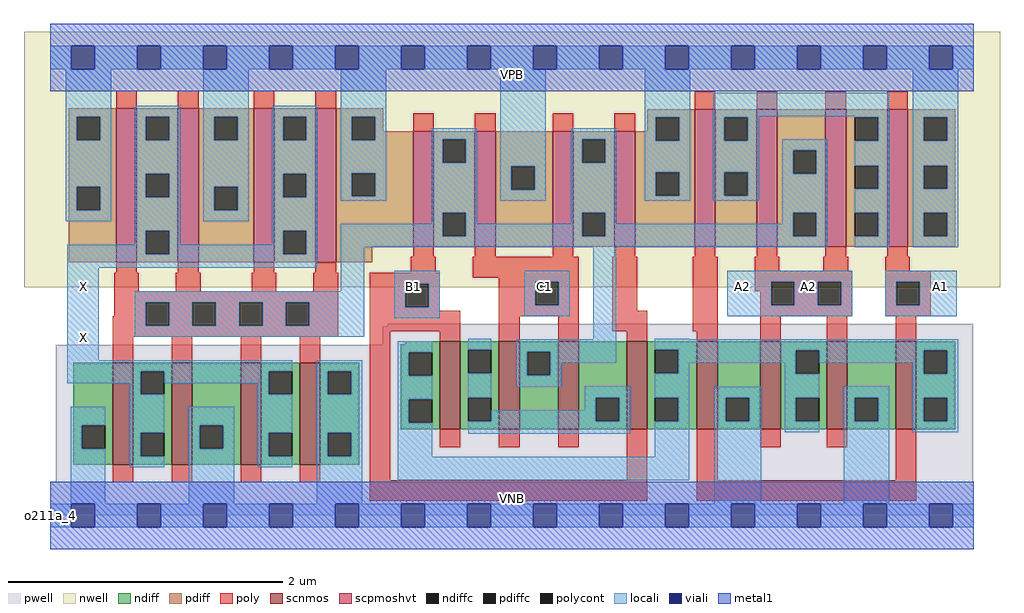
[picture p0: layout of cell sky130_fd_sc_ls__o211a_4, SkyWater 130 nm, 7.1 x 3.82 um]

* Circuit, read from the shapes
.subckt sky130_fd_sc_ls__o211a_4 A1 A2 B1 C1 VGND VNB VPB VPWR X
XM1 X n1 VGND VNB sky130_fd_pr__nfet_01v8 w=0.74 l=0.15 m=4
XM2 n2 B1 n3 VNB sky130_fd_pr__nfet_01v8 w=0.64 l=0.15 m=2
XM3 n1 C1 n2 VNB sky130_fd_pr__nfet_01v8 w=0.64 l=0.15 m=2
XM4 VGND A1 n3 VNB sky130_fd_pr__nfet_01v8 w=0.64 l=0.15 m=2
XM5 n3 A2 VGND VNB sky130_fd_pr__nfet_01v8 w=0.64 l=0.15 m=2
XM6 X n1 VPWR VPB sky130_fd_pr__pfet_01v8_hvt w=1.12 l=0.15 m=4
XM7 n1 B1 VPWR VPB sky130_fd_pr__pfet_01v8_hvt w=0.84 l=0.15 m=2
XM8 VPWR C1 n1 VPB sky130_fd_pr__pfet_01v8_hvt w=0.84 l=0.15 m=2
XM9 n4 A1 VPWR VPB sky130_fd_pr__pfet_01v8_hvt w=1 l=0.15 m=2
XM10 n1 A2 n4 VPB sky130_fd_pr__pfet_01v8_hvt w=1 l=0.15 m=2
.ends

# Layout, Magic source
magic
tech sky130A
magscale 1 2
<< nwell >>
rect -38 332 1382 704
<< pwell >>
rect 491 275 1343 279
rect 484 248 1343 275
rect 8 49 1343 248
rect 0 0 1344 49
<< scnmos >>
rect 91 74 121 222
rect 177 74 207 222
rect 277 74 307 222
rect 363 74 393 222
rect 567 125 597 253
rect 653 125 683 253
rect 739 125 769 253
rect 839 125 869 253
rect 941 125 971 253
rect 1033 125 1063 253
rect 1130 125 1160 253
rect 1230 125 1260 253
<< scpmoshvt >>
rect 96 368 126 592
rect 186 368 216 592
rect 296 368 326 592
rect 386 368 416 592
rect 528 391 558 559
rect 618 391 648 559
rect 731 391 761 559
rect 821 391 851 559
rect 938 391 968 591
rect 1028 391 1058 591
rect 1128 391 1158 591
rect 1218 391 1248 591
<< ndiff >>
rect 34 131 91 222
rect 34 97 46 131
rect 80 97 91 131
rect 34 74 91 97
rect 121 210 177 222
rect 121 176 132 210
rect 166 176 177 210
rect 121 120 177 176
rect 121 86 132 120
rect 166 86 177 120
rect 121 74 177 86
rect 207 131 277 222
rect 207 97 218 131
rect 252 97 277 131
rect 207 74 277 97
rect 307 210 363 222
rect 307 176 318 210
rect 352 176 363 210
rect 307 120 363 176
rect 307 86 318 120
rect 352 86 363 120
rect 307 74 363 86
rect 393 210 450 222
rect 393 176 404 210
rect 438 176 450 210
rect 393 120 450 176
rect 393 86 404 120
rect 438 86 450 120
rect 393 74 450 86
rect 517 249 567 253
rect 510 237 567 249
rect 510 203 522 237
rect 556 203 567 237
rect 510 169 567 203
rect 510 135 522 169
rect 556 135 567 169
rect 510 125 567 135
rect 597 241 653 253
rect 597 207 608 241
rect 642 207 653 241
rect 597 171 653 207
rect 597 137 608 171
rect 642 137 653 171
rect 597 125 653 137
rect 683 238 739 253
rect 683 204 694 238
rect 728 204 739 238
rect 683 125 739 204
rect 769 171 839 253
rect 769 137 794 171
rect 828 137 839 171
rect 769 125 839 137
rect 869 241 941 253
rect 869 207 880 241
rect 914 207 941 241
rect 869 171 941 207
rect 869 137 880 171
rect 914 137 941 171
rect 869 125 941 137
rect 971 171 1033 253
rect 971 137 983 171
rect 1017 137 1033 171
rect 971 125 1033 137
rect 1063 240 1130 253
rect 1063 206 1085 240
rect 1119 206 1130 240
rect 1063 171 1130 206
rect 1063 137 1085 171
rect 1119 137 1130 171
rect 1063 125 1130 137
rect 1160 171 1230 253
rect 1160 137 1171 171
rect 1205 137 1230 171
rect 1160 125 1230 137
rect 1260 240 1317 253
rect 1260 206 1271 240
rect 1305 206 1317 240
rect 1260 171 1317 206
rect 1260 137 1271 171
rect 1305 137 1317 171
rect 1260 125 1317 137
<< pdiff >>
rect 27 580 96 592
rect 27 546 39 580
rect 73 546 96 580
rect 27 478 96 546
rect 27 444 39 478
rect 73 444 96 478
rect 27 368 96 444
rect 126 580 186 592
rect 126 546 139 580
rect 173 546 186 580
rect 126 497 186 546
rect 126 463 139 497
rect 173 463 186 497
rect 126 414 186 463
rect 126 380 139 414
rect 173 380 186 414
rect 126 368 186 380
rect 216 580 296 592
rect 216 546 239 580
rect 273 546 296 580
rect 216 478 296 546
rect 216 444 239 478
rect 273 444 296 478
rect 216 368 296 444
rect 326 580 386 592
rect 326 546 339 580
rect 373 546 386 580
rect 326 497 386 546
rect 326 463 339 497
rect 373 463 386 497
rect 326 414 386 463
rect 326 380 339 414
rect 373 380 386 414
rect 326 368 386 380
rect 416 580 485 592
rect 416 546 439 580
rect 473 559 485 580
rect 869 579 938 591
rect 869 559 881 579
rect 473 546 528 559
rect 416 498 528 546
rect 416 464 439 498
rect 473 464 528 498
rect 416 391 528 464
rect 558 547 618 559
rect 558 513 571 547
rect 605 513 618 547
rect 558 440 618 513
rect 558 406 571 440
rect 605 406 618 440
rect 558 391 618 406
rect 648 508 731 559
rect 648 474 671 508
rect 705 474 731 508
rect 648 391 731 474
rect 761 547 821 559
rect 761 513 774 547
rect 808 513 821 547
rect 761 440 821 513
rect 761 406 774 440
rect 808 406 821 440
rect 761 391 821 406
rect 851 545 881 559
rect 915 545 938 579
rect 851 499 938 545
rect 851 465 881 499
rect 915 465 938 499
rect 851 391 938 465
rect 968 579 1028 591
rect 968 545 981 579
rect 1015 545 1028 579
rect 968 499 1028 545
rect 968 465 981 499
rect 1015 465 1028 499
rect 968 391 1028 465
rect 1058 531 1128 591
rect 1058 497 1081 531
rect 1115 497 1128 531
rect 1058 440 1128 497
rect 1058 406 1081 440
rect 1115 406 1128 440
rect 1058 391 1128 406
rect 1158 579 1218 591
rect 1158 545 1171 579
rect 1205 545 1218 579
rect 1158 509 1218 545
rect 1158 475 1171 509
rect 1205 475 1218 509
rect 1158 440 1218 475
rect 1158 406 1171 440
rect 1205 406 1218 440
rect 1158 391 1218 406
rect 1248 579 1317 591
rect 1248 545 1271 579
rect 1305 545 1317 579
rect 1248 509 1317 545
rect 1248 475 1271 509
rect 1305 475 1317 509
rect 1248 440 1317 475
rect 1248 406 1271 440
rect 1305 406 1317 440
rect 1248 391 1317 406
rect 416 368 469 391
<< ndiffc >>
rect 46 97 80 131
rect 132 176 166 210
rect 132 86 166 120
rect 218 97 252 131
rect 318 176 352 210
rect 318 86 352 120
rect 404 176 438 210
rect 404 86 438 120
rect 522 203 556 237
rect 522 135 556 169
rect 608 207 642 241
rect 608 137 642 171
rect 694 204 728 238
rect 794 137 828 171
rect 880 207 914 241
rect 880 137 914 171
rect 983 137 1017 171
rect 1085 206 1119 240
rect 1085 137 1119 171
rect 1171 137 1205 171
rect 1271 206 1305 240
rect 1271 137 1305 171
<< pdiffc >>
rect 39 546 73 580
rect 39 444 73 478
rect 139 546 173 580
rect 139 463 173 497
rect 139 380 173 414
rect 239 546 273 580
rect 239 444 273 478
rect 339 546 373 580
rect 339 463 373 497
rect 339 380 373 414
rect 439 546 473 580
rect 439 464 473 498
rect 571 513 605 547
rect 571 406 605 440
rect 671 474 705 508
rect 774 513 808 547
rect 774 406 808 440
rect 881 545 915 579
rect 881 465 915 499
rect 981 545 1015 579
rect 981 465 1015 499
rect 1081 497 1115 531
rect 1081 406 1115 440
rect 1171 545 1205 579
rect 1171 475 1205 509
rect 1171 406 1205 440
rect 1271 545 1305 579
rect 1271 475 1305 509
rect 1271 406 1305 440
<< poly >>
rect 96 592 126 618
rect 186 592 216 618
rect 296 592 326 618
rect 386 592 416 618
rect 938 591 968 617
rect 1028 591 1058 617
rect 1128 591 1158 617
rect 1218 591 1248 617
rect 528 559 558 585
rect 618 559 648 585
rect 731 559 761 585
rect 821 559 851 585
rect 528 376 558 391
rect 618 376 648 391
rect 731 376 761 391
rect 821 376 851 391
rect 938 376 968 391
rect 1028 376 1058 391
rect 1128 376 1158 391
rect 1218 376 1248 391
rect 96 353 126 368
rect 186 353 216 368
rect 296 353 326 368
rect 386 353 416 368
rect 525 353 561 376
rect 93 326 129 353
rect 183 326 219 353
rect 293 326 329 353
rect 383 326 419 353
rect 93 310 419 326
rect 93 290 139 310
rect 91 276 139 290
rect 173 276 207 310
rect 241 276 275 310
rect 309 276 343 310
rect 377 276 419 310
rect 91 260 419 276
rect 465 337 567 353
rect 615 346 769 376
rect 465 303 517 337
rect 551 303 567 337
rect 465 298 567 303
rect 653 340 769 346
rect 653 306 706 340
rect 740 306 769 340
rect 465 268 597 298
rect 91 222 121 260
rect 177 222 207 260
rect 277 222 307 260
rect 363 222 393 260
rect 91 48 121 74
rect 177 48 207 74
rect 277 48 307 74
rect 363 48 393 74
rect 465 51 495 268
rect 567 253 597 268
rect 653 290 769 306
rect 653 253 683 290
rect 739 253 769 290
rect 818 298 854 376
rect 818 268 869 298
rect 935 268 971 376
rect 1025 356 1061 376
rect 1125 356 1161 376
rect 1215 356 1251 376
rect 1025 340 1167 356
rect 1025 326 1049 340
rect 839 253 869 268
rect 941 253 971 268
rect 1033 306 1049 326
rect 1083 306 1117 340
rect 1151 306 1167 340
rect 1033 290 1167 306
rect 1215 340 1281 356
rect 1215 306 1231 340
rect 1265 306 1281 340
rect 1215 290 1281 306
rect 1033 253 1063 290
rect 1130 253 1160 290
rect 1230 253 1260 290
rect 567 99 597 125
rect 653 99 683 125
rect 739 99 769 125
rect 839 51 869 125
rect 465 21 869 51
rect 941 51 971 125
rect 1033 99 1063 125
rect 1130 99 1160 125
rect 1230 51 1260 125
rect 941 21 1260 51
<< polycont >>
rect 139 276 173 310
rect 207 276 241 310
rect 275 276 309 310
rect 343 276 377 310
rect 517 303 551 337
rect 706 306 740 340
rect 1049 306 1083 340
rect 1117 306 1151 340
rect 1231 306 1265 340
<< locali >>
rect 0 649 31 683
rect 65 649 127 683
rect 161 649 223 683
rect 257 649 319 683
rect 353 649 415 683
rect 449 649 511 683
rect 545 649 607 683
rect 641 649 703 683
rect 737 649 799 683
rect 833 649 895 683
rect 929 649 991 683
rect 1025 649 1087 683
rect 1121 649 1183 683
rect 1217 649 1279 683
rect 1313 649 1344 683
rect 23 580 89 649
rect 23 546 39 580
rect 73 546 89 580
rect 23 478 89 546
rect 23 444 39 478
rect 73 444 89 478
rect 23 428 89 444
rect 123 580 189 596
rect 123 546 139 580
rect 173 546 189 580
rect 123 497 189 546
rect 123 463 139 497
rect 173 463 189 497
rect 123 414 189 463
rect 223 580 289 649
rect 223 546 239 580
rect 273 546 289 580
rect 223 478 289 546
rect 223 444 239 478
rect 273 444 289 478
rect 223 428 289 444
rect 323 580 389 596
rect 323 546 339 580
rect 373 546 389 580
rect 323 497 389 546
rect 323 463 339 497
rect 373 463 389 497
rect 123 394 139 414
rect 25 380 139 394
rect 173 394 189 414
rect 323 414 389 463
rect 423 580 489 649
rect 423 546 439 580
rect 473 546 489 580
rect 423 498 489 546
rect 423 464 439 498
rect 473 464 489 498
rect 423 458 489 464
rect 555 547 621 563
rect 555 513 571 547
rect 605 513 621 547
rect 555 440 621 513
rect 655 508 721 649
rect 865 579 931 649
rect 655 474 671 508
rect 705 474 721 508
rect 655 458 721 474
rect 758 547 824 563
rect 758 513 774 547
rect 808 513 824 547
rect 555 424 571 440
rect 323 394 339 414
rect 173 380 339 394
rect 373 380 389 414
rect 25 360 389 380
rect 423 406 571 424
rect 605 424 621 440
rect 758 440 824 513
rect 865 545 881 579
rect 915 545 931 579
rect 865 499 931 545
rect 865 465 881 499
rect 915 465 931 499
rect 865 458 931 465
rect 965 581 1221 615
rect 965 579 1031 581
rect 965 545 981 579
rect 1015 545 1031 579
rect 1171 579 1221 581
rect 965 499 1031 545
rect 965 465 981 499
rect 1015 465 1031 499
rect 965 458 1031 465
rect 1065 531 1131 547
rect 1065 497 1081 531
rect 1115 497 1131 531
rect 758 424 774 440
rect 605 406 774 424
rect 808 424 824 440
rect 1065 440 1131 497
rect 1065 424 1081 440
rect 808 406 1081 424
rect 1115 406 1131 440
rect 423 390 1131 406
rect 1205 545 1221 579
rect 1171 509 1221 545
rect 1205 475 1221 509
rect 1171 440 1221 475
rect 1205 406 1221 440
rect 1171 390 1221 406
rect 1255 579 1321 649
rect 1255 545 1271 579
rect 1305 545 1321 579
rect 1255 509 1321 545
rect 1255 475 1271 509
rect 1305 475 1321 509
rect 1255 440 1321 475
rect 1255 406 1271 440
rect 1305 406 1321 440
rect 1255 390 1321 406
rect 25 226 71 360
rect 423 326 457 390
rect 123 310 457 326
rect 123 276 139 310
rect 173 276 207 310
rect 241 276 275 310
rect 309 276 343 310
rect 377 276 457 310
rect 501 337 567 356
rect 501 303 517 337
rect 551 303 567 337
rect 501 287 567 303
rect 690 340 756 356
rect 690 306 706 340
rect 740 306 756 340
rect 690 290 756 306
rect 123 260 457 276
rect 506 237 556 253
rect 25 210 352 226
rect 25 192 132 210
rect 116 176 132 192
rect 166 192 318 210
rect 30 131 80 158
rect 30 97 46 131
rect 30 17 80 97
rect 116 120 166 176
rect 302 176 318 192
rect 116 86 132 120
rect 116 70 166 86
rect 202 131 268 158
rect 202 97 218 131
rect 252 97 268 131
rect 202 17 268 97
rect 302 120 352 176
rect 302 86 318 120
rect 302 70 352 86
rect 388 210 454 226
rect 388 176 404 210
rect 438 176 454 210
rect 388 120 454 176
rect 388 86 404 120
rect 438 86 454 120
rect 388 17 454 86
rect 506 203 522 237
rect 506 169 556 203
rect 506 135 522 169
rect 506 85 556 135
rect 608 241 642 257
rect 790 256 824 390
rect 985 340 1167 356
rect 985 306 1049 340
rect 1083 306 1117 340
rect 1151 306 1167 340
rect 985 290 1167 306
rect 1215 340 1319 356
rect 1215 306 1231 340
rect 1265 306 1319 340
rect 1215 290 1319 306
rect 608 171 642 207
rect 678 238 824 256
rect 678 204 694 238
rect 728 222 824 238
rect 880 256 930 257
rect 880 241 1321 256
rect 728 204 744 222
rect 678 187 744 204
rect 914 240 1321 241
rect 914 222 1085 240
rect 914 207 930 222
rect 778 171 844 188
rect 778 153 794 171
rect 642 137 794 153
rect 828 137 844 171
rect 608 119 844 137
rect 880 171 930 207
rect 1069 206 1085 222
rect 1119 222 1271 240
rect 914 137 930 171
rect 880 85 930 137
rect 506 51 930 85
rect 966 171 1035 187
rect 966 137 983 171
rect 1017 137 1035 171
rect 966 17 1035 137
rect 1069 171 1119 206
rect 1255 206 1271 222
rect 1305 206 1321 240
rect 1069 137 1085 171
rect 1069 121 1119 137
rect 1155 171 1221 188
rect 1155 137 1171 171
rect 1205 137 1221 171
rect 1155 17 1221 137
rect 1255 171 1321 206
rect 1255 137 1271 171
rect 1305 137 1321 171
rect 1255 121 1321 137
rect 0 -17 31 17
rect 65 -17 127 17
rect 161 -17 223 17
rect 257 -17 319 17
rect 353 -17 415 17
rect 449 -17 511 17
rect 545 -17 607 17
rect 641 -17 703 17
rect 737 -17 799 17
rect 833 -17 895 17
rect 929 -17 991 17
rect 1025 -17 1087 17
rect 1121 -17 1183 17
rect 1217 -17 1279 17
rect 1313 -17 1344 17
<< viali >>
rect 31 649 65 683
rect 127 649 161 683
rect 223 649 257 683
rect 319 649 353 683
rect 415 649 449 683
rect 511 649 545 683
rect 607 649 641 683
rect 703 649 737 683
rect 799 649 833 683
rect 895 649 929 683
rect 991 649 1025 683
rect 1087 649 1121 683
rect 1183 649 1217 683
rect 1279 649 1313 683
rect 31 -17 65 17
rect 127 -17 161 17
rect 223 -17 257 17
rect 319 -17 353 17
rect 415 -17 449 17
rect 511 -17 545 17
rect 607 -17 641 17
rect 703 -17 737 17
rect 799 -17 833 17
rect 895 -17 929 17
rect 991 -17 1025 17
rect 1087 -17 1121 17
rect 1183 -17 1217 17
rect 1279 -17 1313 17
<< metal1 >>
rect 0 683 1344 715
rect 0 649 31 683
rect 65 649 127 683
rect 161 649 223 683
rect 257 649 319 683
rect 353 649 415 683
rect 449 649 511 683
rect 545 649 607 683
rect 641 649 703 683
rect 737 649 799 683
rect 833 649 895 683
rect 929 649 991 683
rect 1025 649 1087 683
rect 1121 649 1183 683
rect 1217 649 1279 683
rect 1313 649 1344 683
rect 0 617 1344 649
rect 0 17 1344 49
rect 0 -17 31 17
rect 65 -17 127 17
rect 161 -17 223 17
rect 257 -17 319 17
rect 353 -17 415 17
rect 449 -17 511 17
rect 545 -17 607 17
rect 641 -17 703 17
rect 737 -17 799 17
rect 833 -17 895 17
rect 929 -17 991 17
rect 1025 -17 1087 17
rect 1121 -17 1183 17
rect 1217 -17 1279 17
rect 1313 -17 1344 17
rect 0 -49 1344 -17
<< labels >>
rlabel comment s 0 0 0 0 4 o211a_4
flabel pwell s 0 0 1344 49 0 FreeSans 200 0 0 0 VNB
port 6 nsew ground bidirectional
flabel nwell s 0 617 1344 666 0 FreeSans 200 0 0 0 VPB
port 7 nsew power bidirectional
flabel metal1 s 0 617 1344 666 0 FreeSans 340 0 0 0 VPWR
port 8 nsew power bidirectional abutment
flabel metal1 s 0 0 1344 49 0 FreeSans 340 0 0 0 VGND
port 5 nsew ground bidirectional abutment
flabel locali s 1279 316 1313 350 0 FreeSans 340 0 0 0 A1
port 1 nsew signal input
flabel locali s 991 316 1025 350 0 FreeSans 340 0 0 0 A2
port 2 nsew signal input
flabel locali s 1087 316 1121 350 0 FreeSans 340 0 0 0 A2
port 2 nsew signal input
flabel locali s 511 316 545 350 0 FreeSans 340 0 0 0 B1
port 3 nsew signal input
flabel locali s 703 316 737 350 0 FreeSans 340 0 0 0 C1
port 4 nsew signal input
flabel locali s 31 242 65 276 0 FreeSans 340 0 0 0 X
port 9 nsew signal output
flabel locali s 31 316 65 350 0 FreeSans 340 0 0 0 X
port 9 nsew signal output
<< properties >>
string LEFsite unit
string LEFclass CORE
string FIXED_BBOX 0 0 1344 666
string GDS_FILE $PDKPATH/libs.ref/sky130_fd_sc_ls/gds/sky130_fd_sc_ls.gds
string LEFsymmetry X Y
string GDS_END 1081762
string GDS_START 1070722
<< end >>
